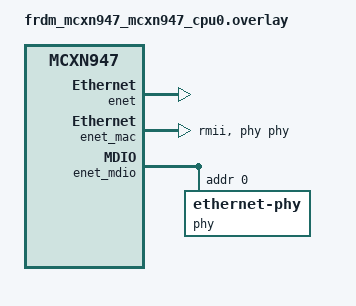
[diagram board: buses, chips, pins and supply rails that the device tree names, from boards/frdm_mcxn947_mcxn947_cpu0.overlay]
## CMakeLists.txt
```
# IOTCONNECT Zephyr quickstart -- flash-and-provision binary. No credentials
# baked in: the device generates its own key/cert (iotcprov provision) and
# keeps its identity in NVS. Only public CA roots are compiled in
# (src/quickstart_credentials.h).
cmake_minimum_required(VERSION 3.20.0)

find_package(Zephyr REQUIRED HINTS $ENV{ZEPHYR_BASE})
project(iotc_quickstart_sample)

target_sources(app PRIVATE src/main.c)
```

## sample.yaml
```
sample:
  name: IOTCONNECT Quickstart
  description: >
    Flash-and-provision binary: no credentials baked in. The device generates
    its own key and self-signed certificate on-chip (iotcprov provision),
    takes cpid/env/duid from a pasted iotcDeviceConfig.json (iotc config),
    persists the identity in NVS, and connects to IOTCONNECT on reboot.
common:
  tags: iotconnect mqtt tls net provisioning sample
  harness: net
tests:
  sample.iotconnect.quickstart:
    platform_allow:
      - frdm_mcxn947/mcxn947/cpu0
    build_only: true
    integration_platforms:
      - frdm_mcxn947/mcxn947/cpu0
```

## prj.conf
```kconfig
# IOTCONNECT Zephyr quickstart -- a flash-and-provision binary.
#
# No device identity is compiled in (cpid/env/duid empty). The device is
# provisioned entirely from the serial prompt: it generates its own key + cert
# (iotcprov provision), you register the cert, paste iotcDeviceConfig.json
# (iotc config), and reboot. Only the public CA roots are compiled in.
# Board-specific networking lives in boards/<board>.conf.

# --- SDK + cloud (region set at build time; identity provisioned at runtime) -
CONFIG_IOTCONNECT=y
CONFIG_IOTCONNECT_DRA=y
CONFIG_IOTCONNECT_CT_AWS=y
CONFIG_IOTCONNECT_DRA_DISCOVERY_HOST="awsdiscovery.iotconnect.io"

# --- On-device provisioning (identity in NVS + shell commands) --------------
CONFIG_IOTCONNECT_IDENTITY_NVS=y
CONFIG_IOTCONNECT_ONDEVICE_KEYGEN=y
CONFIG_IOTCONNECT_SHELL=y
CONFIG_MBEDTLS_USER_CONFIG_FILE="iotc_mbedtls_config.h"   # enables X509_CREATE_C
CONFIG_PSA_WANT_ALG_ECDSA=y
CONFIG_PSA_WANT_KEY_TYPE_ECC_KEY_PAIR_GENERATE=y
CONFIG_PSA_WANT_KEY_TYPE_ECC_KEY_PAIR_EXPORT=y
CONFIG_PSA_WANT_ECC_SECP_R1_256=y

# --- Shell (base64 cert/key + JSON paste need generous buffers) -------------
CONFIG_SHELL=y
CONFIG_SHELL_CMD_BUFF_SIZE=3072
CONFIG_SHELL_BACKEND_SERIAL_RX_RING_BUFFER_SIZE=4096
CONFIG_KERNEL_SHELL=y
CONFIG_REBOOT=y

# --- Networking (native Zephyr IP stack) -----------------------------------
CONFIG_NETWORKING=y
CONFIG_NET_NATIVE=y
CONFIG_NET_IPV4=y
CONFIG_NET_IPV6=n
CONFIG_NET_TCP=y
CONFIG_NET_UDP=y
CONFIG_NET_SOCKETS=y
CONFIG_NET_SOCKETS_SOCKOPT_TLS=y
CONFIG_NET_SOCKETS_TLS_MAX_CONTEXTS=4
CONFIG_DNS_RESOLVER=y
CONFIG_NET_CONNECTION_MANAGER=y
CONFIG_NET_MGMT=y
CONFIG_NET_MGMT_EVENT=y
CONFIG_POSIX_API=y

# --- TLS / mbedTLS ----------------------------------------------------------
CONFIG_TLS_CREDENTIALS=y
CONFIG_MBEDTLS=y
CONFIG_MBEDTLS_ENABLE_HEAP=y
CONFIG_MBEDTLS_HEAP_SIZE=60000
CONFIG_MBEDTLS_SSL_MAX_CONTENT_LEN=16384
CONFIG_MBEDTLS_PEM_PARSE_C=y
CONFIG_MBEDTLS_SSL_SERVER_NAME_INDICATION=y
CONFIG_MBEDTLS_CIPHERSUITE_TLS_ECDHE_RSA_WITH_AES_128_GCM_SHA256=y
CONFIG_MBEDTLS_CIPHERSUITE_TLS_ECDHE_ECDSA_WITH_AES_128_GCM_SHA256=y
CONFIG_ENTROPY_GENERATOR=y

# --- MQTT / HTTP / SNTP -----------------------------------------------------
CONFIG_MQTT_LIB=y
CONFIG_MQTT_LIB_TLS=y
CONFIG_MQTT_KEEPALIVE=30
CONFIG_HTTP_CLIENT=y
CONFIG_SNTP=y
CONFIG_POSIX_TIMERS=y

# --- Settings / NVS ---------------------------------------------------------
CONFIG_SETTINGS=y
CONFIG_SETTINGS_NVS=y
CONFIG_NVS=y
CONFIG_FLASH=y
CONFIG_FLASH_MAP=y

# --- libc / heap / stacks (x509 write is stack-hungry) ----------------------
CONFIG_PICOLIBC_IO_FLOAT=y
CONFIG_MAIN_STACK_SIZE=8192
CONFIG_SHELL_STACK_SIZE=8192
CONFIG_HEAP_MEM_POOL_SIZE=32768
CONFIG_IOTCONNECT_THREAD_STACK_SIZE=4096

# --- Logging ----------------------------------------------------------------
CONFIG_LOG=y
CONFIG_IOTCONNECT_LOG_LEVEL_INF=y

# Device vitals: append a "sys" object (CPU/heap/temp/uptime/reset) to telemetry.
CONFIG_IOTCONNECT_DEVICE_VITALS=y
```

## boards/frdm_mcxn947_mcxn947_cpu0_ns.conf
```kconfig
# FRDM-MCXN947 /ns (TF-M) board config for the quickstart -- Ethernet +
# HARDWARE-BACKED key protection. Crypto/entropy run in the TF-M secure world,
# so the non-secure app's mbedTLS heap + TLS buffers are trimmed to fit the
# smaller non-secure RAM partition and 256 KB MCUboot slot.

# --- Bearer: native Ethernet (ENET-QoS + LAN8741 RMII) ---------------------
CONFIG_NET_L2_ETHERNET=y
CONFIG_ETH_NXP_ENET_QOS=y
CONFIG_ETH_NXP_ENET_QOS_MAC=y
CONFIG_MDIO=y
CONFIG_NET_DHCPV4=y
CONFIG_NET_CONFIG_AUTO_INIT=y
CONFIG_NET_CONFIG_NEED_IPV4=y
CONFIG_NET_CONFIG_SETTINGS=y

# --- TLS credentials live in RAM (VOLATILE backend). The device key is sealed
#     at rest in TF-M Protected Storage via the SDK identity blob; at connect
#     time it is loaded to RAM and referenced by the handshake. Do NOT use the
#     PROTECTED_STORAGE backend here: it would push all four TLS creds (broker
#     CA, DRA CA, device cert, device key) into the small TF-M PS partition,
#     overflow it, and leave the sec-tag empty (TLS_SEC_TAG_LIST -ENOENT). -----
CONFIG_TLS_CREDENTIALS_BACKEND_VOLATILE=y

# --- RNG: net stack sys_rand_get has no entropy device under TF-M -> timer.
#     Crypto uses the TF-M/PSA HW RNG. ----------------------------------------
CONFIG_TEST_RANDOM_GENERATOR=y
CONFIG_TIMER_RANDOM_GENERATOR=y

# --- Trim NS RAM (secure world holds the heavy crypto) ---------------------
CONFIG_MBEDTLS_HEAP_SIZE=22000
CONFIG_MBEDTLS_SSL_MAX_CONTENT_LEN=8192
CONFIG_HEAP_MEM_POOL_SIZE=12288
CONFIG_NET_PKT_RX_COUNT=16
CONFIG_NET_PKT_TX_COUNT=8
CONFIG_NET_BUF_RX_COUNT=48
CONFIG_NET_BUF_TX_COUNT=16

# --- Trim NS flash to fit the 256 KB non-secure MCUboot slot ---------------
CONFIG_SHELL_HELP=n
CONFIG_SHELL_HISTORY=n
CONFIG_SHELL_VT100_COMMANDS=n
CONFIG_SHELL_STATS=n
CONFIG_LOG_MODE_MINIMAL=y

# --- Keep the boot banner ON so we can see how far the NS app boots ---------
CONFIG_BOOT_BANNER=y

# --- ROOT-CAUSE FIX: the MCXN947 flash controller is unusable from the
#     non-secure world under TF-M, so the NS flash driver's PRE_KERNEL init
#     faults before the boot banner. Drop the entire NS flash/NVS/settings
#     stack; the device identity is sealed in TF-M PSA Protected Storage
#     instead (CONFIG_BUILD_WITH_TFM path in iotc_identity.c). --------------
CONFIG_FLASH=n
CONFIG_FLASH_MAP=n
CONFIG_NVS=n
CONFIG_SETTINGS=n
CONFIG_SETTINGS_NVS=n

# Quiet the ENET-QoS RX-starvation WRN so it does not flood the shell prompt
# (harmless LAN-broadcast drops while unprovisioned/idle).
CONFIG_ETHERNET_LOG_LEVEL_ERR=y


# --- TF-M PSA: to VERIFY the server's certificate chain and do the ECDHE key
#     agreement with the server's ephemeral public key, PSA must be able to
#     import PUBLIC keys. On-device keygen only enabled the *_KEY_PAIR types
#     (for our own key); without these the DRA/MQTT TLS handshake aborts
#     (-ECONNABORTED). Non-TF-M builds use software mbedTLS and don't need them.
CONFIG_PSA_WANT_KEY_TYPE_ECC_PUBLIC_KEY=y
CONFIG_PSA_WANT_KEY_TYPE_RSA_PUBLIC_KEY=y

# --- DIAGNOSTIC: surface the raw mbedTLS handshake error (sockets_tls.c logs
#     "TLS handshake error: -0x%x" at NET_ERR before masking it to ECONNABORTED)
CONFIG_NET_LOG=y
CONFIG_NET_SOCKETS_LOG_LEVEL_ERR=y

# --- TF-M PSA: a full TLS handshake needs SHA-384/512 (AWS commonly negotiates
#     ECDHE-RSA-AES256-GCM-SHA384; the PRF + cert/ServerKeyExchange signatures
#     use SHA-384) and P-384 for ECDHE/ECDSA on some chains. On-device keygen
#     only enabled SHA-256/P-256, so the handshake failed in a PSA hash op
#     (mbedTLS -0x7F80 HW_ACCEL_FAILED). ---------------------------------------
CONFIG_PSA_WANT_ALG_SHA_384=y
CONFIG_PSA_WANT_ALG_SHA_512=y
CONFIG_PSA_WANT_ECC_SECP_R1_384=y


# The DRA flow opens sequential TLS connections (discovery then identity);
# give the net stack enough connection + context slots (TIME_WAIT overlap).
CONFIG_NET_MAX_CONN=8
CONFIG_NET_MAX_CONTEXTS=8

# --- Stacks -----------------------------------------------------------------
# Keep the MPU stack guard on (clean overflow detection). The shell stack must
# fit on-device EC keygen (iotcprov keygen). The C2D worker cJSON-parses inbound
# commands off the MQTT pump thread; keep it at the SDK default (not trimmed).
CONFIG_MPU_STACK_GUARD=y
CONFIG_SHELL_STACK_SIZE=6144
CONFIG_IOTCONNECT_C2D_WORKQ_STACK_SIZE=3072


# RAM-tight TF-M /ns build: keep the vitals sidecar off to preserve headroom.
CONFIG_IOTCONNECT_DEVICE_VITALS=n
```

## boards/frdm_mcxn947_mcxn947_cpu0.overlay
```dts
/*
 * FRDM-MCXN947 Ethernet enablement for the IOTCONNECT telemetry sample.
 *
 * The MCXN947 SoC has an ENET-QoS MAC; the FRDM board wires it (RMII) to an
 * onboard Microchip LAN8741 PHY + RJ45. Zephyr leaves enet_mac/enet_mdio
 * disabled by default, so this overlay turns them on, applies the ENET pinmux,
 * and declares the PHY at MDIO address 0. Modeled on the NXP MCX-Nx4x EVK
 * (same SoC family), which uses the generic "ethernet-phy" driver over RMII.
 *
 * NOTE: if ENET init fails at boot with "Can't clear SWR", the 50 MHz RMII
 * REF_CLK from the PHY is not reaching the SoC. On FRDM-MCXN947 the usual
 * cause is board rework: NXP's camera/LCD demo setups move solder jumpers
 * that re-route the shared ENET pins, disconnecting Ethernet in hardware
 * until the jumpers are restored. The PHY still responds over MDIO and even
 * reports link, which makes this easy to misread as a driver bug. Pulsing the SYSCON ENET module
 * reset and skipping the PHY soft-reset (`no-reset`) were both tested on
 * hardware and do not help; the fix belongs in upstream platform init (see
 * the TODO in Zephyr's eth_nxp_enet_qos.c).
 */

&enet {
	pinctrl-0 = <&pinmux_enet_qos>;
	pinctrl-names = "default";
	status = "okay";
};

&enet_mac {
	status = "okay";
	phy-connection-type = "rmii";
	zephyr,random-mac-address;
	phy-handle = <&phy>;
};

&enet_mdio {
	status = "okay";

	phy: ethernet-phy@0 {
		compatible = "ethernet-phy";
		reg = <0>;
		status = "okay";
	};
};
```

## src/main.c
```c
/*
 * Copyright (c) 2026 Avnet, Inc.
 * SPDX-License-Identifier: MIT
 *
 * IOTCONNECT Zephyr quickstart.
 *
 * A ready-to-flash binary: no build toolchain, no credentials baked in. Flash
 * the .hex, open the serial console, and provision the device to your own
 * IOTCONNECT account entirely from the prompt:
 *
 *   1. iotcprov provision <duid>      -- device generates its OWN key + cert
 *   2. Register the printed cert in IOTCONNECT (Create Device, Self-Signed)
 *   3. iotc config  + paste iotcDeviceConfig.json   -- sets cpid/env/duid
 *   4. kernel reboot cold             -- connects as your device
 *
 * Only the public CA roots are compiled in (quickstart_credentials.h); the
 * per-device key is generated on-chip and stored in NVS.
 */

#include <stdbool.h>
#include <stdio.h>

#include <zephyr/kernel.h>
#include <zephyr/logging/log.h>
#include <zephyr/random/random.h>
#include <zephyr/net/net_if.h>
#include <zephyr/net/net_mgmt.h>
#include <zephyr/net/net_event.h>
#include <zephyr/net/conn_mgr_monitor.h>

#include "iotconnect.h"
#include "iotcl.h"
#include "iotcl_telemetry.h"
#include "iotconnect_identity.h"
#include "iotc_time.h"
#include "quickstart_credentials.h"
#if defined(CONFIG_IOTCONNECT_OTA_MCUBOOT)
#include "iotconnect_ota.h"
#endif
#if defined(CONFIG_IOTCONNECT_DEVICE_VITALS)
#include "iotconnect_vitals.h"
#endif

LOG_MODULE_REGISTER(quickstart, LOG_LEVEL_INF);

static void print_guide(const char *reason)
{
	printk("\n");
	printk("========================================================\n");
	printk("  IOTCONNECT QUICKSTART -- device is not provisioned\n");
	printk("  (%s)\n", reason);
	printk("--------------------------------------------------------\n");
#if defined(CONFIG_WIFI_CREDENTIALS)
	printk("  0) Join Wi-Fi (stored in flash, survives reflash):\n");
	printk("        wifi cred add -s \"<ssid>\" -k 1 -p \"<passphrase>\"\n");
#endif
	printk("  1) Generate this device's identity ON the device:\n");
	printk("        iotcprov provision <your-duid>\n");
	printk("  2) In IOTCONNECT: Create Device (Self-Signed) and paste\n");
	printk("     the certificate it printed.\n");
	printk("  3) Paste the downloaded iotcDeviceConfig.json:\n");
	printk("        iotc config\n");
	printk("        { ...paste the json block... }\n");
	printk("  4) Connect:  kernel reboot cold\n");
	printk("========================================================\n\n");
}

/* --- Network bring-up ----------------------------------------------------- */
static K_SEM_DEFINE(l4_connected_sem, 0, 1);
static struct net_mgmt_event_callback l4_cb;
#define L4_EVENT_MASK (NET_EVENT_L4_CONNECTED | NET_EVENT_L4_DISCONNECTED)

static void l4_event_handler(struct net_mgmt_event_callback *cb,
			     uint64_t mgmt_event, struct net_if *iface)
{
	ARG_UNUSED(cb);
	ARG_UNUSED(iface);
	if (mgmt_event == NET_EVENT_L4_CONNECTED) {
		k_sem_give(&l4_connected_sem);
	}
}

static int network_up(void)
{
	struct net_if *iface = net_if_get_default();

	if (iface == NULL) {
		return -ENODEV;
	}
	net_mgmt_init_event_callback(&l4_cb, l4_event_handler, L4_EVENT_MASK);
	net_mgmt_add_event_callback(&l4_cb);
	if (!net_if_is_up(iface)) {
		int ret = net_if_up(iface);

		if (ret && ret != -EALREADY) {
			return ret;
		}
	}
	conn_mgr_mon_resend_status();
	LOG_INF("Waiting for network connectivity...");
	k_sem_take(&l4_connected_sem, K_FOREVER);
	return 0;
}

int main(void)
{
	struct iotc_identity id;
	int ret;

	printk("\nIOTCONNECT Zephyr quickstart\n");

	/* Device identity comes entirely from NVS (provisioned at the prompt). */
	if (iotc_identity_load(&id) != 0) {
		print_guide("no identity stored in NVS");
		return 0; /* stay alive at the shell for provisioning */
	}
	LOG_INF("Provisioned as duid=%s -- bringing up network", id.duid);

	if (network_up() != 0) {
		LOG_ERR("network did not come up");
		return 0;
	}
	/* On Wi-Fi bearers L4 can report up before association and DHCP have
	 * settled; give SNTP a few tries before declaring failure. */
	for (int attempt = 1;; attempt++) {
		ret = iotc_time_sync(CONFIG_IOTCONNECT_SNTP_SERVER,
				     CONFIG_IOTCONNECT_SNTP_TIMEOUT_MS);
		if (ret == 0) {
			break;
		}
		if (attempt == 10) {
			LOG_ERR("SNTP sync failed (%d)", ret);
			return 0;
		}
		k_sleep(K_SECONDS(3));
	}

	IotConnectClientConfig config;

	iotconnect_sdk_init_config(&config);
	config.connection_type = IOTC_CT_AWS;
	config.cpid = (char *)id.cpid;
	config.env = (char *)id.env;
	config.duid = (char *)id.duid;
	config.auth_info.type = IOTC_AT_X509;
	config.auth_info.ca_cert = broker_ca_pem;         /* public roots, compiled in */
	config.auth_info.ca_cert_len = sizeof(broker_ca_pem);
	config.auth_info.dra_ca = dra_ca_pem;
	config.auth_info.dra_ca_len = sizeof(dra_ca_pem);
	config.auth_info.data.cert_info.device_cert = id.device_cert;     /* from NVS */
	config.auth_info.data.cert_info.device_cert_len = id.device_cert_len;
	config.auth_info.data.cert_info.device_key = id.device_key;       /* from NVS */
	config.auth_info.data.cert_info.device_key_len = id.device_key_len;
	config.verbose = true;
#if defined(CONFIG_IOTCONNECT_OTA_MCUBOOT)
	config.ota_cb = iotc_ota_handle;
#endif

	ret = iotconnect_sdk_init(&config);
	if (ret) {
		LOG_ERR("iotconnect_sdk_init failed (%d)", ret);
		return 0;
	}

	while (true) {
		if (iotconnect_sdk_connect() != 0) {
			k_sleep(K_SECONDS(5));
			continue;
		}
#if defined(CONFIG_IOTCONNECT_OTA_MCUBOOT)
		/* Running post-OTA? Make the new image permanent and complete
		 * the persisted ack (or report a revert from the old image). */
		iotc_ota_confirm_if_pending();
#endif
		while (iotconnect_sdk_is_connected()) {
			IotclMessageHandle msg = iotcl_telemetry_create();

			if (msg != NULL) {
				iotcl_telemetry_set_number(msg, "random",
							   (double)(sys_rand32_get() % 100));
				iotcl_telemetry_set_string(msg, "version", "1.0.0");
#if defined(CONFIG_IOTCONNECT_DEVICE_VITALS)
				iotc_vitals_append(msg);
#endif
				(void)iotcl_mqtt_send_telemetry(msg, false);
				iotcl_telemetry_destroy(msg);
			}
			k_sleep(K_SECONDS(10));
		}
		iotconnect_sdk_disconnect();
		LOG_WRN("Disconnected; reconnecting...");
	}
	return 0;
}
```

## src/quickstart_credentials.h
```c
/*
 * Copyright (c) 2026 Avnet, Inc.  SPDX-License-Identifier: MIT
 *
 * PUBLIC CA roots only -- safe to commit and distribute. The per-device
 * certificate and private key are generated ON the device (iotcprov provision)
 * and stored in NVS; they are NEVER compiled into the quickstart binary.
 * The roots themselves now live in the SDK's shared header.
 */
#ifndef QUICKSTART_CREDENTIALS_H
#define QUICKSTART_CREDENTIALS_H

#include "iotconnect_ca_roots.h"

#endif /* QUICKSTART_CREDENTIALS_H */
```
